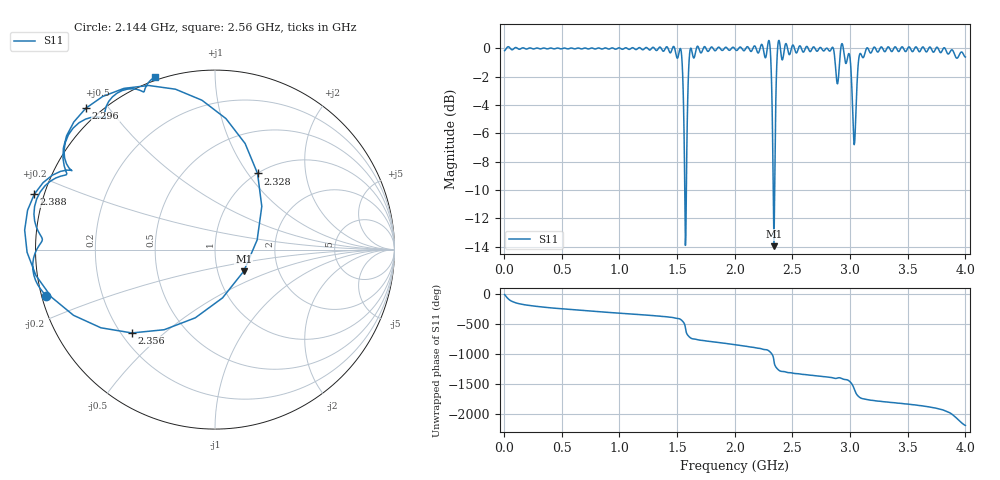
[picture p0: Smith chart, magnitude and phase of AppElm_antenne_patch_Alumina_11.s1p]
! TOUCHSTONE file generated by CST MICROWAVE STUDIO
! Date and time: Thu Jun  9 15:16:47 2022
! Project name: AppElm_antenne_patch_Alumina.cst
! Parameters = {L=30.5; W=41.8; e=0.035; h=1.6; lambda=0.190476; ls=90; w0=1.12; w1=0.373; ws=90; y0=14; y1=12.5}
! Header version: 2018
! Port assignment regex: !\s*Touchstone port\s*([0-9]+)\s*=\s*(CST MWS port|CST DS port)\s*([0-9]+|Zmin|Zmax)\s*\(\"(.*)\"\)(\s*mode\s*([0-9]+))?.*
! Touchstone port assignment:
! Touchstone port 1 = CST MWS port 1 ("")
# GHz S MA R 50
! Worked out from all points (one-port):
!   1000 points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, 4 MHz to 4 GHz, reference 50 ohm
!   lowest |S11| = -14.0 dB at 2.34 GHz (marker M1), VSWR 1.50, Z = 66.7 - j16.7 ohm
!   |S11| at or under -10 dB: 1.566 GHz to 1.58 GHz (13.68 MHz wide, 0.87 % of centre); 2.333 GHz to 2.346 GHz (12.42 MHz wide, 0.531 % of centre)
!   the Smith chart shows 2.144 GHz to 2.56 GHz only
!   S11 on the Smith chart (normalised r, x): 2.144 GHz: 0.01, -0.14; 2.296 GHz: -0.04, +0.44; 2.328 GHz: 1.00, +1.11; 2.356 GHz: 0.24, -0.39; 2.388 GHz: -0.03, +0.15; 2.56 GHz: -0.01, +0.71
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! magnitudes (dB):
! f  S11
! 4 MHz  -0.2
! 504 MHz  0.0
! 1.004 GHz  0.0
! 1.504 GHz  -0.7
! 1.536 GHz  -0.2
! 1.572 GHz  -13.9
! 1.588 GHz  -5.2
! 1.608 GHz  -0.4
! 1.624 GHz  -0.1
! 2.004 GHz  -0.1
! 2.144 GHz  -0.2
! 2.296 GHz  0.6
! 2.308 GHz  -0.1
! 2.328 GHz  -6.3
! 2.34 GHz  -14.0
! 2.356 GHz  -3.7
! 2.372 GHz  0.1
! 2.388 GHz  0.4
! 2.504 GHz  0.2
! 2.56 GHz  0.2
! 2.84 GHz  0.0
! 2.888 GHz  -2.5
! 2.932 GHz  0.3
! 3.004 GHz  -1.1
! 3.036 GHz  -6.8
! 3.092 GHz  -0.4
! 3.504 GHz  0.1
! 4 GHz  -0.6
